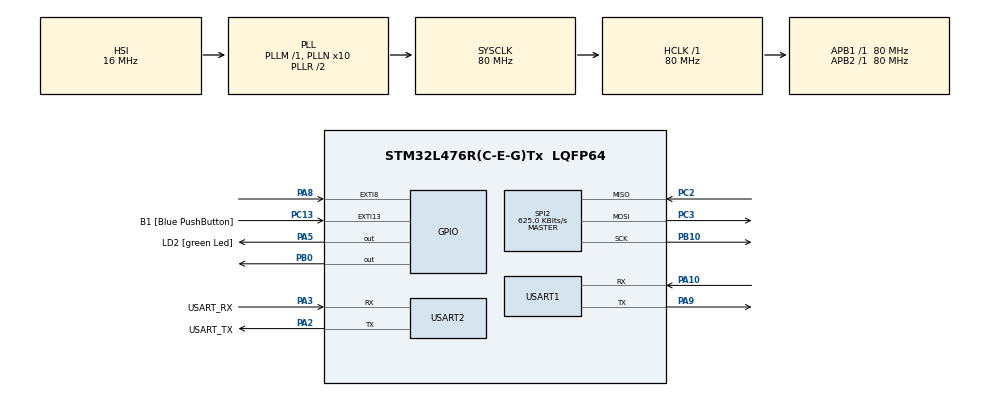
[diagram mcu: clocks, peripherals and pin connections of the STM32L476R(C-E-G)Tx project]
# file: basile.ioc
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FREERTOS.HEAP_NUMBER=2
FREERTOS.MEMORY_ALLOCATION=2
FREERTOS.Tasks01=defaultTask,0,256,StartDefaultTask,Default,NULL,Static,defaultTaskBuffer,defaultTaskControlBlock
FREERTOS.configCHECK_FOR_STACK_OVERFLOW=2
FREERTOS.configMAX_TASK_NAME_LEN=32
FREERTOS.configMINIMAL_STACK_SIZE=256
FREERTOS.configTOTAL_HEAP_SIZE=32768
FREERTOS.configUSE_COUNTING_SEMAPHORES=1
Mcu.Family=STM32L4
Mcu.Name=STM32L476R(C-E-G)Tx
Mcu.Package=LQFP64
NVIC.EXTI15_10_IRQn=true\:6\:0\:true\:false\:true\:true\:true\:true\:true
NVIC.EXTI9_5_IRQn=true\:6\:0\:true\:false\:true\:true\:true\:true\:true
NVIC.PriorityGroup=NVIC_PRIORITYGROUP_4
NVIC.TIM6_DAC_IRQn=true\:15\:0\:false\:false\:true\:false\:false\:true\:true
NVIC.TimeBase=TIM6_DAC_IRQn
NVIC.TimeBaseIP=TIM6
NVIC.USART1_IRQn=true\:5\:0\:false\:false\:true\:true\:true\:true\:true
PA10.Mode=Asynchronous
PA10.Signal=USART1_RX
PA13\ (JTMS-SWDIO).GPIO_Label=TMS
PA13\ (JTMS-SWDIO).Mode=Serial_Wire
PA13\ (JTMS-SWDIO).Signal=SYS_JTMS-SWDIO
PA14\ (JTCK-SWCLK).GPIO_Label=TCK
PA14\ (JTCK-SWCLK).Mode=Serial_Wire
PA14\ (JTCK-SWCLK).Signal=SYS_JTCK-SWCLK
PA2.GPIO_Label=USART_TX
PA2.GPIO_Mode=GPIO_MODE_AF_PP
PA2.GPIO_PuPd=GPIO_NOPULL
PA2.GPIO_Speed=GPIO_SPEED_FREQ_VERY_HIGH
PA2.Mode=Asynchronous
PA2.Signal=USART2_TX
PA3.GPIO_Label=USART_RX
PA3.GPIO_Mode=GPIO_MODE_AF_PP
PA3.GPIO_PuPd=GPIO_NOPULL
PA3.GPIO_Speed=GPIO_SPEED_FREQ_VERY_HIGH
PA3.Mode=Asynchronous
PA3.Signal=USART2_RX
PA5.GPIO_Label=LD2 [green Led]
PA5.GPIO_ModeDefaultOutputPP=GPIO_MODE_OUTPUT_PP
PA5.GPIO_PuPd=GPIO_NOPULL
PA5.GPIO_Speed=GPIO_SPEED_FREQ_LOW
PA5.Signal=GPIO_Output
PA8.GPIO_ModeDefaultEXTI=GPIO_MODE_IT_FALLING
PA8.Signal=GPXTI8
PA9.Mode=Asynchronous
PA9.Signal=USART1_TX
PB0.GPIO_Speed=GPIO_SPEED_FREQ_HIGH
PB0.PinState=GPIO_PIN_SET
PB0.Signal=GPIO_Output
PB10.Mode=Full_Duplex_Master
PB10.Signal=SPI2_SCK
PB3\ (JTDO-TRACESWO).GPIO_Label=SWO
PB3\ (JTDO-TRACESWO).Signal=SYS_JTDO-SWO
PC13.GPIO_Label=B1 [Blue PushButton]
PC13.GPIO_ModeDefaultEXTI=GPIO_MODE_IT_FALLING
PC13.GPIO_PuPd=GPIO_NOPULL
PC13.Signal=GPXTI13
PC14-OSC32_IN\ (PC14).Mode=LSE-External-Oscillator
PC14-OSC32_IN\ (PC14).Signal=RCC_OSC32_IN
PC15-OSC32_OUT\ (PC15).Mode=LSE-External-Oscillator
PC15-OSC32_OUT\ (PC15).Signal=RCC_OSC32_OUT
PC2.Mode=Full_Duplex_Master
PC2.Signal=SPI2_MISO
PC3.Mode=Full_Duplex_Master
PC3.Signal=SPI2_MOSI
PH0-OSC_IN\ (PH0).Signal=RCC_OSC_IN
PH1-OSC_OUT\ (PH1).Signal=RCC_OSC_OUT
ProjectManager.HeapSize=0x200
ProjectManager.StackSize=0x400
ProjectManager.TargetToolchain=STM32CubeIDE
RCC.ADCFreq_Value=64000000
RCC.AHBFreq_Value=80000000
RCC.APB1Freq_Value=80000000
RCC.APB1TimFreq_Value=80000000
RCC.APB2Freq_Value=80000000
RCC.APB2TimFreq_Value=80000000
RCC.CortexFreq_Value=80000000
RCC.HCLKFreq_Value=80000000
RCC.HSE_VALUE=8000000
RCC.HSI_VALUE=16000000
RCC.MSI_VALUE=4000000
RCC.PLLN=10
RCC.PLLSourceVirtual=RCC_PLLSOURCE_HSI
RCC.PREFETCH_ENABLE=1
RCC.SYSCLKFreq_VALUE=80000000
RCC.SYSCLKSource=RCC_SYSCLKSOURCE_PLLCLK
RCC.USBFreq_Value=64000000
RCC.VCOOutputFreq_Value=160000000
SPI2.BaudRatePrescaler=SPI_BAUDRATEPRESCALER_128
SPI2.CalculateBaudRate=625.0 KBits/s
SPI2.DataSize=SPI_DATASIZE_8BIT
SPI2.Direction=SPI_DIRECTION_2LINES
SPI2.Mode=SPI_MODE_MASTER
SPI2.VirtualType=VM_MASTER
USART1.VirtualMode-Asynchronous=VM_ASYNC
USART2.VirtualMode-Asynchronous=VM_ASYNC
VP_FREERTOS_VS_CMSIS_V1.Mode=CMSIS_V1
VP_SYS_VS_tim6.Mode=TIM6
board=NUCLEO-L476RG

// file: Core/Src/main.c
/* USER CODE BEGIN Header */
/**
  ******************************************************************************
  * @file           : main.c
  * @brief          : Main program body
  ******************************************************************************
  * @attention
  *
  * Copyright (c) 2024 STMicroelectronics.
  * All rights reserved.
  *
  * This software is licensed under terms that can be found in the LICENSE file
  * in the root directory of this software component.
  * If no LICENSE file comes with this software, it is provided AS-IS.
  *
  ******************************************************************************
  */
/* USER CODE END Header */
#include "main.h"
#include "cmsis_os.h"

/* USER CODE BEGIN Includes */
#include "rtos.h"
#include "tcp_echo.h"
#include "lwip.h"
#include "lwip/tcpip.h"
#include "f9p.h"
/* USER CODE END Includes */

/* USER CODE BEGIN PD */
extern struct netif gnetif;
extern osThreadId F9pTask_Handle;
extern rtcmMsg_t RtcmMsgTab[RTCM_MSG_TAB];

/* USER CODE END PD */

SPI_HandleTypeDef hspi2;

UART_HandleTypeDef huart1;
UART_HandleTypeDef huart2;

osThreadId defaultTaskHandle;
uint32_t defaultTaskBuffer[ 256 ];
osStaticThreadDef_t defaultTaskControlBlock;
/* USER CODE BEGIN PV */

SemaphoreHandle_t xSemaphore;
StaticSemaphore_t xSemaphoreBuffer;
SemaphoreHandle_t xRxUartReceive;
QueueHandle_t rtcmQueue;
QueueHandle_t rtcmDataQueue;
uint8_t rx_byte = 0;

osThreadId ethernetTaskHandleGlobal;

BaseType_t xHigherPriorityTaskWoken = pdFALSE;
/* USER CODE END PV */

void SystemClock_Config(void);
static void MX_GPIO_Init(void);
static void MX_USART2_UART_Init(void);
static void MX_SPI2_Init(void);
static void MX_USART1_UART_Init(void);
void StartDefaultTask(void const * argument);

/* USER CODE BEGIN PFP */
#define PUTCHAR_PROTOTYPE int __io_putchar(int ch)
/* USER CODE END PFP */

int main(void)
{

  /* MCU Configuration--------------------------------------------------------*/

  /* Reset of all peripherals, Initializes the Flash interface and the Systick. */
  HAL_Init();

  /* Configure the system clock */
  SystemClock_Config();

  /* Initialize all configured peripherals */
  MX_GPIO_Init();
  MX_USART2_UART_Init();
  MX_SPI2_Init();
  MX_USART1_UART_Init();
  /* USER CODE BEGIN 2 */
  HAL_NVIC_DisableIRQ(USART1_IRQn);

  /* USER CODE END 2 */

  /* Create the thread(s) */
  /* definition and creation of defaultTask */
  osThreadStaticDef(defaultTask, StartDefaultTask, osPriorityNormal, 0, 256, defaultTaskBuffer, &defaultTaskControlBlock);
  defaultTaskHandle = osThreadCreate(osThread(defaultTask), NULL);

  /* USER CODE BEGIN RTOS_THREADS */
  /* add threads, ... */
  /* Semaphore to signal Ethernet Link state update */
  xRxUartReceive = xSemaphoreCreateBinary();
  rtcmQueue = xQueueCreate(1, sizeof(uint8_t));
  rtcmDataQueue = xQueueCreate(1, sizeof(rtcmMsg_t));
  //uint8_t *text = "lancement de l'OS temps réèl\r\n";
  printf("basile.fw\r\n");
  printf("lancement de l'OS temps reel\r\n");
 // HAL_UART_Transmit(&huart2, text, 10, 1000);
  initRTOS();

  /* USER CODE END RTOS_THREADS */

  /* Start scheduler */
  osKernelStart();

  /* We should never get here as control is now taken by the scheduler */

  /* Infinite loop */
  /* USER CODE BEGIN WHILE */

  while (1)
  {
	//MX_LWIP_Process();

    /* USER CODE END WHILE */

  }
}

void SystemClock_Config(void)
{
  RCC_OscInitTypeDef RCC_OscInitStruct = {0};
  RCC_ClkInitTypeDef RCC_ClkInitStruct = {0};

  /** Configure the main internal regulator output voltage
  */
  if (HAL_PWREx_ControlVoltageScaling(PWR_REGULATOR_VOLTAGE_SCALE1) != HAL_OK)
  {
    Error_Handler();
  }

  /** Initializes the RCC Oscillators according to the specified parameters
  * in the RCC_OscInitTypeDef structure.
  */
  RCC_OscInitStruct.OscillatorType = RCC_OSCILLATORTYPE_HSI;
  RCC_OscInitStruct.HSIState = RCC_HSI_ON;
  RCC_OscInitStruct.HSICalibrationValue = RCC_HSICALIBRATION_DEFAULT;
  RCC_OscInitStruct.PLL.PLLState = RCC_PLL_ON;
  RCC_OscInitStruct.PLL.PLLSource = RCC_PLLSOURCE_HSI;
  RCC_OscInitStruct.PLL.PLLM = 1;
  RCC_OscInitStruct.PLL.PLLN = 10;
  RCC_OscInitStruct.PLL.PLLP = RCC_PLLP_DIV7;
  RCC_OscInitStruct.PLL.PLLQ = RCC_PLLQ_DIV2;
  RCC_OscInitStruct.PLL.PLLR = RCC_PLLR_DIV2;
  if (HAL_RCC_OscConfig(&RCC_OscInitStruct) != HAL_OK)
  {
    Error_Handler();
  }

  /** Initializes the CPU, AHB and APB buses clocks
  */
  RCC_ClkInitStruct.ClockType = RCC_CLOCKTYPE_HCLK|RCC_CLOCKTYPE_SYSCLK
                              |RCC_CLOCKTYPE_PCLK1|RCC_CLOCKTYPE_PCLK2;
  RCC_ClkInitStruct.SYSCLKSource = RCC_SYSCLKSOURCE_PLLCLK;
  RCC_ClkInitStruct.AHBCLKDivider = RCC_SYSCLK_DIV1;
  RCC_ClkInitStruct.APB1CLKDivider = RCC_HCLK_DIV1;
  RCC_ClkInitStruct.APB2CLKDivider = RCC_HCLK_DIV1;

  if (HAL_RCC_ClockConfig(&RCC_ClkInitStruct, FLASH_LATENCY_4) != HAL_OK)
  {
    Error_Handler();
  }
}

static void MX_SPI2_Init(void)
{

  /* SPI2 parameter configuration*/
  hspi2.Instance = SPI2;
  hspi2.Init.Mode = SPI_MODE_MASTER;
  hspi2.Init.Direction = SPI_DIRECTION_2LINES;
  hspi2.Init.DataSize = SPI_DATASIZE_8BIT;
  hspi2.Init.CLKPolarity = SPI_POLARITY_LOW;
  hspi2.Init.CLKPhase = SPI_PHASE_1EDGE;
  hspi2.Init.NSS = SPI_NSS_SOFT;
  hspi2.Init.BaudRatePrescaler = SPI_BAUDRATEPRESCALER_128;
  hspi2.Init.FirstBit = SPI_FIRSTBIT_MSB;
  hspi2.Init.TIMode = SPI_TIMODE_DISABLE;
  hspi2.Init.CRCCalculation = SPI_CRCCALCULATION_DISABLE;
  hspi2.Init.CRCPolynomial = 7;
  hspi2.Init.CRCLength = SPI_CRC_LENGTH_DATASIZE;
  hspi2.Init.NSSPMode = SPI_NSS_PULSE_ENABLE;
  if (HAL_SPI_Init(&hspi2) != HAL_OK)
  {
    Error_Handler();
  }

}

static void MX_USART1_UART_Init(void)
{

  huart1.Instance = USART1;
  huart1.Init.BaudRate = 115200;
  huart1.Init.WordLength = UART_WORDLENGTH_8B;
  huart1.Init.StopBits = UART_STOPBITS_1;
  huart1.Init.Parity = UART_PARITY_NONE;
  huart1.Init.Mode = UART_MODE_TX_RX;
  huart1.Init.HwFlowCtl = UART_HWCONTROL_NONE;
  huart1.Init.OverSampling = UART_OVERSAMPLING_16;
  huart1.Init.OneBitSampling = UART_ONE_BIT_SAMPLE_DISABLE;
  huart1.AdvancedInit.AdvFeatureInit = UART_ADVFEATURE_NO_INIT;
  if (HAL_UART_Init(&huart1) != HAL_OK)
  {
    Error_Handler();
  }

}

static void MX_USART2_UART_Init(void)
{

  huart2.Instance = USART2;
  huart2.Init.BaudRate = 115200;
  huart2.Init.WordLength = UART_WORDLENGTH_8B;
  huart2.Init.StopBits = UART_STOPBITS_1;
  huart2.Init.Parity = UART_PARITY_NONE;
  huart2.Init.Mode = UART_MODE_TX_RX;
  huart2.Init.HwFlowCtl = UART_HWCONTROL_NONE;
  huart2.Init.OverSampling = UART_OVERSAMPLING_16;
  huart2.Init.OneBitSampling = UART_ONE_BIT_SAMPLE_DISABLE;
  huart2.AdvancedInit.AdvFeatureInit = UART_ADVFEATURE_NO_INIT;
  if (HAL_UART_Init(&huart2) != HAL_OK)
  {
    Error_Handler();
  }

}

static void MX_GPIO_Init(void)
{
  GPIO_InitTypeDef GPIO_InitStruct = {0};

  /* GPIO Ports Clock Enable */
  __HAL_RCC_GPIOC_CLK_ENABLE();
  __HAL_RCC_GPIOH_CLK_ENABLE();
  __HAL_RCC_GPIOA_CLK_ENABLE();
  __HAL_RCC_GPIOB_CLK_ENABLE();

  /*Configure GPIO pin Output Level */
  HAL_GPIO_WritePin(LD2_GPIO_Port, LD2_Pin, GPIO_PIN_RESET);

  /*Configure GPIO pin Output Level */
  HAL_GPIO_WritePin(GPIOB, GPIO_PIN_0, GPIO_PIN_SET);

  /*Configure GPIO pin : B1_Pin */
  GPIO_InitStruct.Pin = B1_Pin;
  GPIO_InitStruct.Mode = GPIO_MODE_IT_FALLING;
  GPIO_InitStruct.Pull = GPIO_NOPULL;
  HAL_GPIO_Init(B1_GPIO_Port, &GPIO_InitStruct);

  /*Configure GPIO pin : LD2_Pin */
  GPIO_InitStruct.Pin = LD2_Pin;
  GPIO_InitStruct.Mode = GPIO_MODE_OUTPUT_PP;
  GPIO_InitStruct.Pull = GPIO_NOPULL;
  GPIO_InitStruct.Speed = GPIO_SPEED_FREQ_LOW;
  HAL_GPIO_Init(LD2_GPIO_Port, &GPIO_InitStruct);

  /*Configure GPIO pin : PB0 */
  GPIO_InitStruct.Pin = GPIO_PIN_0;
  GPIO_InitStruct.Mode = GPIO_MODE_OUTPUT_PP;
  GPIO_InitStruct.Pull = GPIO_NOPULL;
  GPIO_InitStruct.Speed = GPIO_SPEED_FREQ_HIGH;
  HAL_GPIO_Init(GPIOB, &GPIO_InitStruct);

  /*Configure GPIO pin : PA8 */
  GPIO_InitStruct.Pin = GPIO_PIN_8;
  GPIO_InitStruct.Mode = GPIO_MODE_IT_FALLING;
  GPIO_InitStruct.Pull = GPIO_NOPULL;
  HAL_GPIO_Init(GPIOA, &GPIO_InitStruct);

  /* EXTI interrupt init*/
  HAL_NVIC_SetPriority(EXTI9_5_IRQn, 6, 0);
  HAL_NVIC_EnableIRQ(EXTI9_5_IRQn);

  HAL_NVIC_SetPriority(EXTI15_10_IRQn, 6, 0);
  HAL_NVIC_EnableIRQ(EXTI15_10_IRQn);

}

/* USER CODE BEGIN 4 */

/**
  * @brief  Initializes the lwIP stack
  * @param  None
  * @retval None
  */

void StartTask03(void const * argument)
{
	taskENTER_CRITICAL();	//disable IRQ
	 printf("task 3 start\r\n");
	xSemaphore = xSemaphoreCreateBinaryStatic(&xSemaphoreBuffer);

	/* Create tcp_ip stack thread */
	tcpip_init(NULL, NULL);

	/* Initialize the LwIP stack */
	Netif_Config();

	/* Initialize tcp client (send rtcm data)*/
	tcpclient_init();

	/* Initialize webserver */
	http_server_netconn_init();

	/*F9p starting */
	taskEXIT_CRITICAL();

	/* infinite loop but pas trop quand même */
	for(;;)
	{
		printf("task 3 kill\r\n");
		osThreadTerminate(NULL);
	}

}

void HAL_GPIO_EXTI_Callback(uint16_t GPIO_Pin)
{
  if (GPIO_Pin == 256)// pin PA8
  {
	  if (ethernetTaskHandleGlobal!=NULL)
		  xSemaphoreGiveFromISR( xSemaphore, &xHigherPriorityTaskWoken );
  }
}

void vApplicationStackOverflowHook(TaskHandle_t xTask, char *pcTaskName) {
    printf("Stack overflow in task: %s\n", pcTaskName);
    while (1);  // Bloque l'exécution si débordement détecté
}
PUTCHAR_PROTOTYPE
{
  /* Place your implementation of fputc here */
  /* e.g. write a character to the USART1 and Loop until the end of transmission */
  HAL_UART_Transmit(&huart2, (uint8_t *)&ch, 1, 0xFFFF);

  return ch;
}

void HAL_UART_RxCpltCallback(UART_HandleTypeDef *huart)
{
	 BaseType_t xHigherPriorityTaskWoken = pdFALSE;
    if (huart->Instance == USART1){
    	 xQueueSendFromISR(rtcmQueue, &rx_byte, &xHigherPriorityTaskWoken);
    	 HAL_UART_Receive_IT(&huart1, &rx_byte, 1); // Relancer la réception
    	 portYIELD_FROM_ISR(xHigherPriorityTaskWoken);
    }

    portYIELD_FROM_ISR(xHigherPriorityTaskWoken);
}
/* USER CODE END 4 */

void StartDefaultTask(void const * argument)
{
  /* USER CODE BEGIN 5 */
  /* Infinite loop */
	int i=0;
  for(;;)
  {
	  i++;
	  HAL_GPIO_TogglePin(LD2_GPIO_Port, LD2_Pin);
	  vTaskDelay(500);
	  //HAL_UART_Transmit(&huart2, &i, sizeof(i), 1000);
    osDelay(1);
  }
  /* USER CODE END 5 */
}

void HAL_TIM_PeriodElapsedCallback(TIM_HandleTypeDef *htim)
{
  if (htim->Instance == TIM6)
  {
    HAL_IncTick();
  }
}

void Error_Handler(void)
{
  __disable_irq();
  while (1)
  {
  }
}

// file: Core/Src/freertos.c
/* USER CODE BEGIN Header */
/**
  ******************************************************************************
  * File Name          : freertos.c
  * Description        : Code for freertos applications
  ******************************************************************************
  * @attention
  *
  * Copyright (c) 2024 STMicroelectronics.
  * All rights reserved.
  *
  * This software is licensed under terms that can be found in the LICENSE file
  * in the root directory of this software component.
  * If no LICENSE file comes with this software, it is provided AS-IS.
  *
  ******************************************************************************
  */
/* USER CODE END Header */

#include "FreeRTOS.h"
#include "task.h"
#include "main.h"

/* GetIdleTaskMemory prototype (linked to static allocation support) */
void vApplicationGetIdleTaskMemory( StaticTask_t **ppxIdleTaskTCBBuffer, StackType_t **ppxIdleTaskStackBuffer, uint32_t *pulIdleTaskStackSize );

/* Hook prototypes */
void vApplicationStackOverflowHook(xTaskHandle xTask, signed char *pcTaskName);

/* USER CODE BEGIN 4 */
__weak void vApplicationStackOverflowHook(xTaskHandle xTask, signed char *pcTaskName)
{
   /* Run time stack overflow checking is performed if
   configCHECK_FOR_STACK_OVERFLOW is defined to 1 or 2. This hook function is
   called if a stack overflow is detected. */
}
/* USER CODE END 4 */

/* USER CODE BEGIN GET_IDLE_TASK_MEMORY */
static StaticTask_t xIdleTaskTCBBuffer;
static StackType_t xIdleStack[configMINIMAL_STACK_SIZE];

void vApplicationGetIdleTaskMemory( StaticTask_t **ppxIdleTaskTCBBuffer, StackType_t **ppxIdleTaskStackBuffer, uint32_t *pulIdleTaskStackSize )
{
  *ppxIdleTaskTCBBuffer = &xIdleTaskTCBBuffer;
  *ppxIdleTaskStackBuffer = &xIdleStack[0];
  *pulIdleTaskStackSize = configMINIMAL_STACK_SIZE;
  /* place for user code */
}
/* USER CODE END GET_IDLE_TASK_MEMORY */
